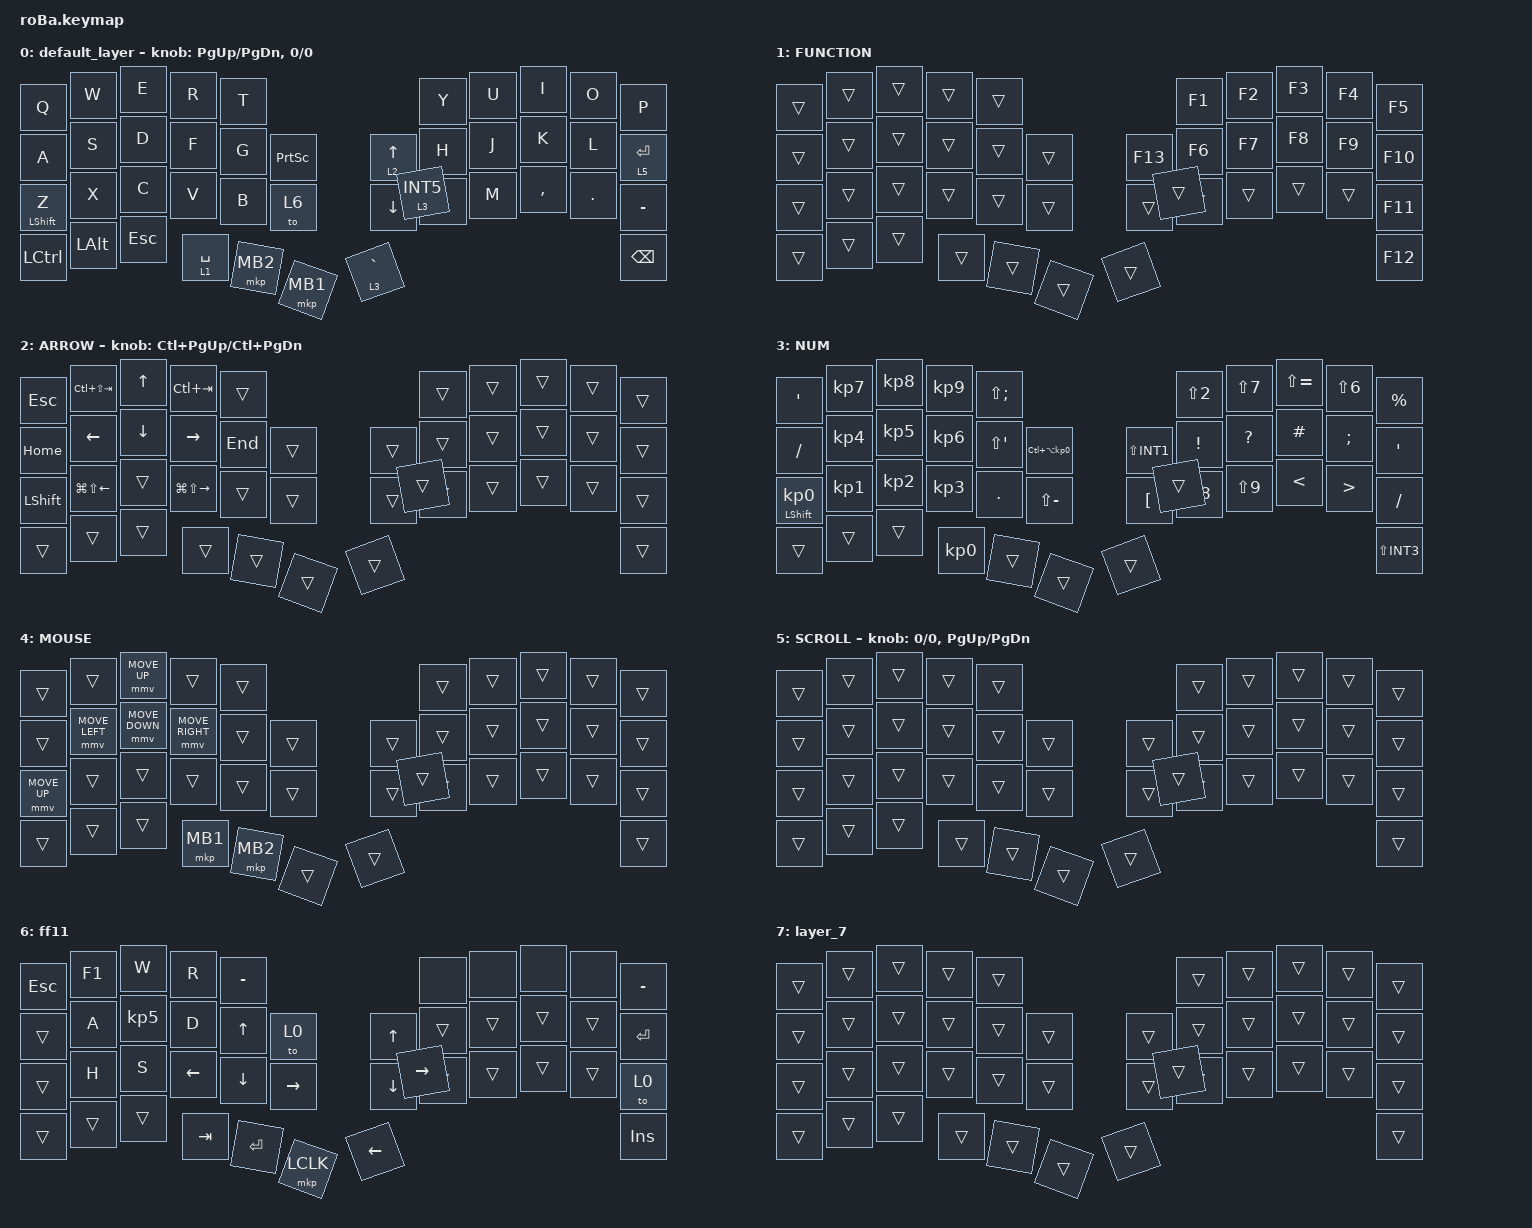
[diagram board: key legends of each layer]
#include <behaviors.dtsi>
#include <dt-bindings/zmk/keys.h>
#include <dt-bindings/zmk/pointing.h>

&mt {
    flavor = "balanced";
    quick-tap-ms = <0>;
};

&trackball {
    automouse-layer = <4>;
    scroll-layers = <5>;

    // arrows {
    //     layers = <3>;
    //     bindings =
    //         <&kp RIGHT_ARROW>,
    //         <&kp LEFT_ARROW>,
    //         <&kp UP_ARROW>,
    //         <&kp DOWN_ARROW>;
    //     tick = <10>;
    //     wait-ms = <5>;
    //     tap-ms = <5>;
    // };
};

/ {
    combos {
        compatible = "zmk,combos";

        tab {
            bindings = <&kp TAB>;
            key-positions = <11 12>;
        };

        shift_tab {
            bindings = <&kp LS(TAB)>;
            key-positions = <12 13>;
        };

        muhennkann {
            bindings = <&to_layer_0 INT_MUHENKAN>;
            key-positions = <11 10>;
        };

        double_quotation {
            // JIS配列: " = Shift+2

            bindings = <&kp LS(N2)>;
            key-positions = <20 21>;
        };

        eq {
            // JIS配列: = は Shift+-

            bindings = <&kp LS(MINUS)>;
            key-positions = <24 25>;
        };
    };

    macros {
        to_layer_0: to_layer_0 {
            compatible = "zmk,behavior-macro-one-param";
            #binding-cells = <1>;
            bindings = <&to 0 &macro_param_1to1 &kp MACRO_PLACEHOLDER>;
            label = "TO_LAYER_0";
        };
    };

    behaviors {
        lt_to_layer_0: lt_to_layer_0 {
            compatible = "zmk,behavior-hold-tap";
            label = "LAYER_TAP_TO_0";
            bindings = <&mo>, <&to_layer_0>;

            #binding-cells = <2>;
            tapping-term-ms = <200>;
        };
    };

    keymap {
        compatible = "zmk,keymap";

        default_layer {
            bindings = <
&kp Q             &kp W         &kp E    &kp R                   &kp T                                         &kp Y                  &kp U  &kp I      &kp O    &kp P
&kp A             &kp S         &kp D    &kp F                   &kp G     &kp PSCRN      &lt_to_layer_0 2 UP  &kp H                  &kp J  &kp K      &kp L    &lt 5 ENTER
&mt LEFT_SHIFT Z  &kp X         &kp C    &kp V                   &kp B     &to 6          &kp DOWN             &kp N                  &kp M  &kp COMMA  &kp DOT  &kp MINUS
&kp LCTRL         &kp LEFT_ALT  &kp ESC  &lt_to_layer_0 1 SPACE  &mkp MB2  &mkp MB1       &lt 3 GRAVE          &lt_to_layer_0 3 INT5                             &kp BACKSPACE
            >;

            sensor-bindings = <&inc_dec_kp PG_UP PAGE_DOWN>, <&inc_dec_kp 0 0>;
        };

        FUNCTION {
            bindings = <
&trans  &trans  &trans  &trans  &trans                       &kp F1  &kp F2  &kp F3  &kp F4  &kp F5
&trans  &trans  &trans  &trans  &trans  &trans      &kp F13  &kp F6  &kp F7  &kp F8  &kp F9  &kp F10
&trans  &trans  &trans  &trans  &trans  &trans      &trans   &trans  &trans  &trans  &trans  &kp F11
&trans  &trans  &trans  &trans  &trans  &trans      &trans   &trans                          &kp F12
            >;
        };

        ARROW {
            bindings = <
&kp ESCAPE      &kp LC(LS(TAB))         &kp UP_ARROW    &kp LC(TAB)              &trans                       &trans  &trans  &trans  &trans  &trans
&kp HOME        &kp LEFT_ARROW          &kp DOWN_ARROW  &kp RIGHT_ARROW          &kp END  &trans      &trans  &trans  &trans  &trans  &trans  &trans
&kp LEFT_SHIFT  &kp LG(LS(LEFT_ARROW))  &trans          &kp LG(LS(RIGHT_ARROW))  &trans   &trans      &trans  &trans  &trans  &trans  &trans  &trans
&trans          &trans                  &trans          &trans                   &trans   &trans      &trans  &trans                          &trans
            >;

            sensor-bindings = <&inc_dec_kp LC(PAGE_UP) LC(PAGE_DOWN)>;
        };

        NUM {
            // 記号キーはJIS配列Windows向けのキーコード。
            // 例: "=LS(N2) / '=LS(N7) / @=LBKT / +=LS(SEMI) / *=LS(SQT) / |=LS(INT3) / :=SQT (COLONは使わない。LS(SEMI)相当になり+が出てしまう)

            bindings = <
&kp SQT                     &kp KP_NUMBER_7  &kp KP_NUMBER_8  &kp KP_NUMBER_9  &kp LS(SEMI)                                             &kp LS(N2)       &kp LS(N7)    &kp LS(EQUAL)  &kp LS(NUMBER_6)  &kp PRCNT
&kp SLASH                   &kp KP_NUMBER_4  &kp KP_NUMBER_5  &kp KP_NUMBER_6  &kp LS(SQT)   &kp LC(LA(KP_NUMBER_0))      &kp LS(INT1)  &kp EXCLAMATION  &kp QUESTION  &kp HASH       &kp SEMI          &kp SQT
&mt LEFT_SHIFT KP_NUMBER_0  &kp KP_NUMBER_1  &kp KP_NUMBER_2  &kp KP_NUMBER_3  &kp PERIOD    &kp LS(MINUS)                &kp LBKT      &kp LS(N8)       &kp LS(N9)    &kp LESS_THAN  &kp GREATER_THAN  &kp SLASH
&trans                      &trans           &trans           &kp KP_NUMBER_0  &trans        &trans                       &trans        &trans                                                          &kp LS(INT3)
            >;
        };

        MOUSE {
            bindings = <
&trans        &trans          &mmv MOVE_UP    &trans           &trans                        &trans  &trans  &trans  &trans  &trans
&trans        &mmv MOVE_LEFT  &mmv MOVE_DOWN  &mmv MOVE_RIGHT  &trans    &trans      &trans  &trans  &trans  &trans  &trans  &trans
&mmv MOVE_UP  &trans          &trans          &trans           &trans    &trans      &trans  &trans  &trans  &trans  &trans  &trans
&trans        &trans          &trans          &mkp MB1         &mkp MB2  &trans      &trans  &trans                          &trans
            >;
        };

        SCROLL {
            bindings = <
&trans  &trans  &trans  &trans  &trans                      &trans  &trans  &trans  &trans  &trans
&trans  &trans  &trans  &trans  &trans  &trans      &trans  &trans  &trans  &trans  &trans  &trans
&trans  &trans  &trans  &trans  &trans  &trans      &trans  &trans  &trans  &trans  &trans  &trans
&trans  &trans  &trans  &trans  &trans  &trans      &trans  &trans                          &trans
            >;

            sensor-bindings =
                <&inc_dec_kp 0 0>,
                <&inc_dec_kp PAGE_UP PAGE_DOWN>;
        };

        ff11 {
            bindings = <
&kp ESC  &kp F1  &kp W            &kp R           &kp MINUS                                            &none            &none   &none   &none   &kp MINUS
&trans   &kp A   &kp KP_NUMBER_5  &kp D           &kp UP_ARROW    &to 0                &kp UP_ARROW    &trans           &trans  &trans  &trans  &kp ENTER
&trans   &kp H   &kp S            &kp LEFT_ARROW  &kp DOWN_ARROW  &kp RIGHT_ARROW      &kp DOWN_ARROW  &trans           &trans  &trans  &trans  &to 0
&trans   &trans  &trans           &kp TAB         &kp ENTER       &mkp LCLK            &kp LEFT_ARROW  &kp RIGHT_ARROW                          &kp INSERT
            >;
        };

        layer_7 {
            bindings = <
&trans  &trans  &trans  &trans  &trans                      &trans  &trans  &trans  &trans  &trans
&trans  &trans  &trans  &trans  &trans  &trans      &trans  &trans  &trans  &trans  &trans  &trans
&trans  &trans  &trans  &trans  &trans  &trans      &trans  &trans  &trans  &trans  &trans  &trans
&trans  &trans  &trans  &trans  &trans  &trans      &trans  &trans                          &trans
            >;
        };
    };
};
